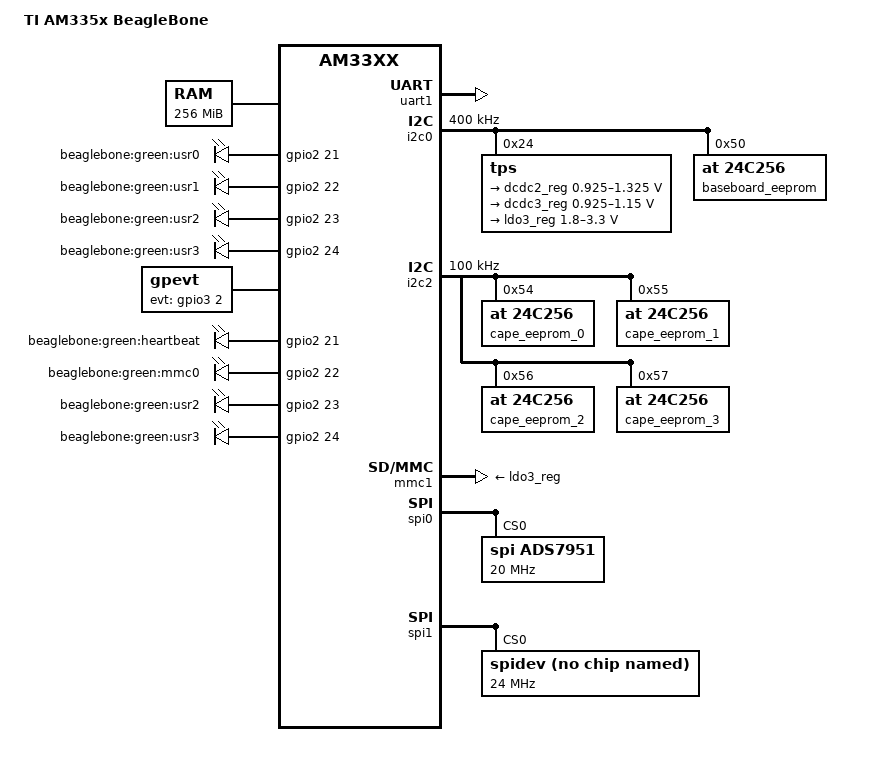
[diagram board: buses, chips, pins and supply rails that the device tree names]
/*
 * Copyright (C) 2012 Texas Instruments Incorporated - http://www.ti.com/
 *
 * This program is free software; you can redistribute it and/or modify
 * it under the terms of the GNU General Public License version 2 as
 * published by the Free Software Foundation.
 */

/include/ "am33xx.dtsi"

/ {
	model = "TI AM335x BeagleBone";
	compatible = "ti,am335x-bone", "ti,am33xx";

	cpus {
		cpu@0 {
			cpu0-supply = <&dcdc2_reg>;
		};
	};

	memory {
		device_type = "memory";
		reg = <0x80000000 0x10000000>; /* 256 MB */
	};

	am33xx_pinmux: pinmux@44e10800 {
		pinctrl-names = "default";
		pinctrl-0 = <&user_leds_s0>;

		user_leds_s0: user_leds_s0 {
			pinctrl-single,pins = <
				0x54 0x7	/* gpmc_a5.gpio1_21, OUTPUT | MODE7 */
				0x58 0x17	/* gpmc_a6.gpio1_22, OUTPUT_PULLUP | MODE7 */
				0x5c 0x7	/* gpmc_a7.gpio1_23, OUTPUT | MODE7 */
				0x60 0x17	/* gpmc_a8.gpio1_24, OUTPUT_PULLUP | MODE7 */
			>;
		};

		spi0_pins: pinmux_spi0_pins {
			pinctrl-single,pins = <
				0x150 0x30      /* spi0_sclk.spo0_sclk, OUTPUT_PULLUP | MODE0 */
				0x154 0x30      /* spi0_d0.spi0_d0, INPUT_PULLUP | MODE0 */
				0x158 0x30      /* spi0_d1.spi0_d1, INPUT_PULLUP | MODE0 */
				0x15c 0x30      /* spi0_cs0.spi0_cs0, OUTPUT_PULLUP | MODE0 */
			>;
		};

		spi1_pins: pinmux_spi1_pins {
			pinctrl-single,pins = <
				0x190 0x13	/* mcasp0_aclkx.spi1_sclk, OUTPUT_PULLUP | MODE3 */
				0x194 0x33	/* mcasp0_fsx.spi1_d0, INPUT_PULLUP | MODE3 */
				0x198 0x13	/* mcasp0_axr0.spi1_d1, OUTPUT_PULLUP | MODE3 */
				0x19c 0x13	/* mcasp0_ahclkr.spi1_cs0, OUTPUT_PULLUP | MODE3 */
			>;
		};
		lcd_pins: pinmux_lcd_pins {
			pinctrl-single,pins = <
				0x1a4 0x17	/* mcasp0_fsr.gpio3_19, OUTPUT_PULLUP | MODE7 */
				0x1ac 0x17	/* mcasp0_ahclkx.gpio3_21, OUTPUT_PULLUP | MODE7 */
			>;
		};
		gpevt_pins: pinmux_gpevt_pins {
			pinctrl-single,pins = <
				0x090 0x37	/* gpmc_advn_ale.gpio2_2, INPUT_PULLUP | MODE7 */
			>;
		};
		userled_pins: pinmux_userled_pins {
			pinctrl-single,pins = <
				0x54 0x7	/* gpmc_a5.gpio1_21, OUTPUT | MODE7 */
				0x58 0x17	/* gpmc_a6.gpio1_22, OUTPUT_PULLUP | MODE7 */
				0x5c 0x7	/* gpmc_a7.gpio1_23, OUTPUT | MODE7 */
				0x60 0x17	/* gpmc_a8.gpio1_24, OUTPUT_PULLUP | MODE7 */
			>;
		};
		i2c2_pins: pinmux_i2c2_pins {
			pinctrl-single,pins = <
				0x178 0x73 	/* uart1_ctsn.i2c2_sda, SLEWCTRL_SLOW | INPUT_PULLUP | MODE3 */
				0x17c 0x73	/* uart1_rtsn.i2c2_scl, SLEWCTRL_SLOW | INPUT_PULLUP | MODE3 */
			>;
		};

		bone_dvi_cape_led_pins: pinmux_bone_dvi_cape_led_pins {
			pinctrl-single,pins = <
				0x48 0x07	/* gpmc_a2.gpio1_18, OUTPUT | MODE7 */
				0x4c 0x07	/* gpmc_a3.gpio1_19, OUTPUT | MODE7 */
			>;
		};

		bone_dvi_cape_dvi_00A0_pins: pinmux_bone_dvi_cape_dvi_00A0_pins {
			pinctrl-single,pins = <
				0x1c 0x07	/* gpmc_ad7.gpio1_7, OUTPUT | MODE7 - DVIPDn */

				0xa0 0x08	/* lcd_data0.lcd_data0, OMAP_MUX_MODE0 | AM33XX_PIN_OUTPUT | AM33XX_PULL_DISA */
				0xa4 0x08	/* lcd_data1.lcd_data1, OMAP_MUX_MODE0 | AM33XX_PIN_OUTPUT | AM33XX_PULL_DISA */
				0xa8 0x08	/* lcd_data2.lcd_data2, OMAP_MUX_MODE0 | AM33XX_PIN_OUTPUT | AM33XX_PULL_DISA */
				0xac 0x08	/* lcd_data3.lcd_data3, OMAP_MUX_MODE0 | AM33XX_PIN_OUTPUT | AM33XX_PULL_DISA */
				0xb0 0x08	/* lcd_data4.lcd_data4, OMAP_MUX_MODE0 | AM33XX_PIN_OUTPUT | AM33XX_PULL_DISA */
				0xb4 0x08	/* lcd_data5.lcd_data5, OMAP_MUX_MODE0 | AM33XX_PIN_OUTPUT | AM33XX_PULL_DISA */
				0xb8 0x08	/* lcd_data6.lcd_data6, OMAP_MUX_MODE0 | AM33XX_PIN_OUTPUT | AM33XX_PULL_DISA */
				0xbc 0x08	/* lcd_data7.lcd_data7, OMAP_MUX_MODE0 | AM33XX_PIN_OUTPUT | AM33XX_PULL_DISA */
				0xc0 0x08	/* lcd_data8.lcd_data8, OMAP_MUX_MODE0 | AM33XX_PIN_OUTPUT | AM33XX_PULL_DISA */
				0xc4 0x08	/* lcd_data9.lcd_data9, OMAP_MUX_MODE0 | AM33XX_PIN_OUTPUT | AM33XX_PULL_DISA */
				0xc8 0x08	/* lcd_data10.lcd_data10, OMAP_MUX_MODE0 | AM33XX_PIN_OUTPUT | AM33XX_PULL_DISA */
				0xcc 0x08	/* lcd_data11.lcd_data11, OMAP_MUX_MODE0 | AM33XX_PIN_OUTPUT | AM33XX_PULL_DISA */
				0xd0 0x08	/* lcd_data12.lcd_data12, OMAP_MUX_MODE0 | AM33XX_PIN_OUTPUT | AM33XX_PULL_DISA */
				0xd4 0x08	/* lcd_data13.lcd_data13, OMAP_MUX_MODE0 | AM33XX_PIN_OUTPUT | AM33XX_PULL_DISA */
				0xd8 0x08	/* lcd_data14.lcd_data14, OMAP_MUX_MODE0 | AM33XX_PIN_OUTPUT | AM33XX_PULL_DISA */
				0xdc 0x08	/* lcd_data15.lcd_data15, OMAP_MUX_MODE0 | AM33XX_PIN_OUTPUT | AM33XX_PULL_DISA */
				0xe0 0x00	/* lcd_vsync.lcd_vsync, OMAP_MUX_MODE0 | AM33XX_PIN_OUTPUT */
				0xe4 0x00	/* lcd_hsync.lcd_hsync, OMAP_MUX_MODE0 | AM33XX_PIN_OUTPUT */
				0xe8 0x00	/* lcd_pclk.lcd_pclk, OMAP_MUX_MODE0 | AM33XX_PIN_OUTPUT */
				0xec 0x00	/* lcd_ac_bias_en.lcd_ac_bias_en, OMAP_MUX_MODE0 | AM33XX_PIN_OUTPUT */
			>;
		};

		bone_dvi_cape_dvi_00A1_pins: pinmux_bone_dvi_cape_dvi_00A1_pins {
			pinctrl-single,pins = <
				0x84 0x07	/* gpmc_csn2.gpio1_31, OUTPUT | MODE7 - DVIPDn */

				0xa0 0x08	/* lcd_data0.lcd_data0, OMAP_MUX_MODE0 | AM33XX_PIN_OUTPUT | AM33XX_PULL_DISA */
				0xa4 0x08	/* lcd_data1.lcd_data1, OMAP_MUX_MODE0 | AM33XX_PIN_OUTPUT | AM33XX_PULL_DISA */
				0xa8 0x08	/* lcd_data2.lcd_data2, OMAP_MUX_MODE0 | AM33XX_PIN_OUTPUT | AM33XX_PULL_DISA */
				0xac 0x08	/* lcd_data3.lcd_data3, OMAP_MUX_MODE0 | AM33XX_PIN_OUTPUT | AM33XX_PULL_DISA */
				0xb0 0x08	/* lcd_data4.lcd_data4, OMAP_MUX_MODE0 | AM33XX_PIN_OUTPUT | AM33XX_PULL_DISA */
				0xb4 0x08	/* lcd_data5.lcd_data5, OMAP_MUX_MODE0 | AM33XX_PIN_OUTPUT | AM33XX_PULL_DISA */
				0xb8 0x08	/* lcd_data6.lcd_data6, OMAP_MUX_MODE0 | AM33XX_PIN_OUTPUT | AM33XX_PULL_DISA */
				0xbc 0x08	/* lcd_data7.lcd_data7, OMAP_MUX_MODE0 | AM33XX_PIN_OUTPUT | AM33XX_PULL_DISA */
				0xc0 0x08	/* lcd_data8.lcd_data8, OMAP_MUX_MODE0 | AM33XX_PIN_OUTPUT | AM33XX_PULL_DISA */
				0xc4 0x08	/* lcd_data9.lcd_data9, OMAP_MUX_MODE0 | AM33XX_PIN_OUTPUT | AM33XX_PULL_DISA */
				0xc8 0x08	/* lcd_data10.lcd_data10, OMAP_MUX_MODE0 | AM33XX_PIN_OUTPUT | AM33XX_PULL_DISA */
				0xcc 0x08	/* lcd_data11.lcd_data11, OMAP_MUX_MODE0 | AM33XX_PIN_OUTPUT | AM33XX_PULL_DISA */
				0xd0 0x08	/* lcd_data12.lcd_data12, OMAP_MUX_MODE0 | AM33XX_PIN_OUTPUT | AM33XX_PULL_DISA */
				0xd4 0x08	/* lcd_data13.lcd_data13, OMAP_MUX_MODE0 | AM33XX_PIN_OUTPUT | AM33XX_PULL_DISA */
				0xd8 0x08	/* lcd_data14.lcd_data14, OMAP_MUX_MODE0 | AM33XX_PIN_OUTPUT | AM33XX_PULL_DISA */
				0xdc 0x08	/* lcd_data15.lcd_data15, OMAP_MUX_MODE0 | AM33XX_PIN_OUTPUT | AM33XX_PULL_DISA */
				0xe0 0x00	/* lcd_vsync.lcd_vsync, OMAP_MUX_MODE0 | AM33XX_PIN_OUTPUT */
				0xe4 0x00	/* lcd_hsync.lcd_hsync, OMAP_MUX_MODE0 | AM33XX_PIN_OUTPUT */
				0xe8 0x00	/* lcd_pclk.lcd_pclk, OMAP_MUX_MODE0 | AM33XX_PIN_OUTPUT */
				0xec 0x00	/* lcd_ac_bias_en.lcd_ac_bias_en, OMAP_MUX_MODE0 | AM33XX_PIN_OUTPUT */
			>;
		};

		nxp_hdmi_bonelt_pins: nxp_hdmi_bonelt_pins {
			pinctrl-single,pins = <
				0x1b0 0x03	/* xdma_event_intr0, OMAP_MUX_MODE3 | AM33XX_PIN_OUTPUT */
				0xa0 0x08	/* lcd_data0.lcd_data0, OMAP_MUX_MODE0 | AM33XX_PIN_OUTPUT | AM33XX_PULL_DISA */
				0xa4 0x08	/* lcd_data1.lcd_data1, OMAP_MUX_MODE0 | AM33XX_PIN_OUTPUT | AM33XX_PULL_DISA */
				0xa8 0x08	/* lcd_data2.lcd_data2, OMAP_MUX_MODE0 | AM33XX_PIN_OUTPUT | AM33XX_PULL_DISA */
				0xac 0x08	/* lcd_data3.lcd_data3, OMAP_MUX_MODE0 | AM33XX_PIN_OUTPUT | AM33XX_PULL_DISA */
				0xb0 0x08	/* lcd_data4.lcd_data4, OMAP_MUX_MODE0 | AM33XX_PIN_OUTPUT | AM33XX_PULL_DISA */
				0xb4 0x08	/* lcd_data5.lcd_data5, OMAP_MUX_MODE0 | AM33XX_PIN_OUTPUT | AM33XX_PULL_DISA */
				0xb8 0x08	/* lcd_data6.lcd_data6, OMAP_MUX_MODE0 | AM33XX_PIN_OUTPUT | AM33XX_PULL_DISA */
				0xbc 0x08	/* lcd_data7.lcd_data7, OMAP_MUX_MODE0 | AM33XX_PIN_OUTPUT | AM33XX_PULL_DISA */
				0xc0 0x08	/* lcd_data8.lcd_data8, OMAP_MUX_MODE0 | AM33XX_PIN_OUTPUT | AM33XX_PULL_DISA */
				0xc4 0x08	/* lcd_data9.lcd_data9, OMAP_MUX_MODE0 | AM33XX_PIN_OUTPUT | AM33XX_PULL_DISA */
				0xc8 0x08	/* lcd_data10.lcd_data10, OMAP_MUX_MODE0 | AM33XX_PIN_OUTPUT | AM33XX_PULL_DISA */
				0xcc 0x08	/* lcd_data11.lcd_data11, OMAP_MUX_MODE0 | AM33XX_PIN_OUTPUT | AM33XX_PULL_DISA */
				0xd0 0x08	/* lcd_data12.lcd_data12, OMAP_MUX_MODE0 | AM33XX_PIN_OUTPUT | AM33XX_PULL_DISA */
				0xd4 0x08	/* lcd_data13.lcd_data13, OMAP_MUX_MODE0 | AM33XX_PIN_OUTPUT | AM33XX_PULL_DISA */
				0xd8 0x08	/* lcd_data14.lcd_data14, OMAP_MUX_MODE0 | AM33XX_PIN_OUTPUT | AM33XX_PULL_DISA */
				0xdc 0x08	/* lcd_data15.lcd_data15, OMAP_MUX_MODE0 | AM33XX_PIN_OUTPUT | AM33XX_PULL_DISA */
				0xe0 0x00	/* lcd_vsync.lcd_vsync, OMAP_MUX_MODE0 | AM33XX_PIN_OUTPUT */
				0xe4 0x00	/* lcd_hsync.lcd_hsync, OMAP_MUX_MODE0 | AM33XX_PIN_OUTPUT */
				0xe8 0x00	/* lcd_pclk.lcd_pclk, OMAP_MUX_MODE0 | AM33XX_PIN_OUTPUT */
				0xec 0x00	/* lcd_ac_bias_en.lcd_ac_bias_en, OMAP_MUX_MODE0 | AM33XX_PIN_OUTPUT */
			>;
		};

		nxp_hdmi_cape_pins: nxp_hdmi_cape_pins {
			pinctrl-single,pins = <

				0xa0 0x08	/* lcd_data0.lcd_data0, OMAP_MUX_MODE0 | AM33XX_PIN_OUTPUT | AM33XX_PULL_DISA */
				0xa4 0x08	/* lcd_data1.lcd_data1, OMAP_MUX_MODE0 | AM33XX_PIN_OUTPUT | AM33XX_PULL_DISA */
				0xa8 0x08	/* lcd_data2.lcd_data2, OMAP_MUX_MODE0 | AM33XX_PIN_OUTPUT | AM33XX_PULL_DISA */
				0xac 0x08	/* lcd_data3.lcd_data3, OMAP_MUX_MODE0 | AM33XX_PIN_OUTPUT | AM33XX_PULL_DISA */
				0xb0 0x08	/* lcd_data4.lcd_data4, OMAP_MUX_MODE0 | AM33XX_PIN_OUTPUT | AM33XX_PULL_DISA */
				0xb4 0x08	/* lcd_data5.lcd_data5, OMAP_MUX_MODE0 | AM33XX_PIN_OUTPUT | AM33XX_PULL_DISA */
				0xb8 0x08	/* lcd_data6.lcd_data6, OMAP_MUX_MODE0 | AM33XX_PIN_OUTPUT | AM33XX_PULL_DISA */
				0xbc 0x08	/* lcd_data7.lcd_data7, OMAP_MUX_MODE0 | AM33XX_PIN_OUTPUT | AM33XX_PULL_DISA */
				0xc0 0x08	/* lcd_data8.lcd_data8, OMAP_MUX_MODE0 | AM33XX_PIN_OUTPUT | AM33XX_PULL_DISA */
				0xc4 0x08	/* lcd_data9.lcd_data9, OMAP_MUX_MODE0 | AM33XX_PIN_OUTPUT | AM33XX_PULL_DISA */
				0xc8 0x08	/* lcd_data10.lcd_data10, OMAP_MUX_MODE0 | AM33XX_PIN_OUTPUT | AM33XX_PULL_DISA */
				0xcc 0x08	/* lcd_data11.lcd_data11, OMAP_MUX_MODE0 | AM33XX_PIN_OUTPUT | AM33XX_PULL_DISA */
				0xd0 0x08	/* lcd_data12.lcd_data12, OMAP_MUX_MODE0 | AM33XX_PIN_OUTPUT | AM33XX_PULL_DISA */
				0xd4 0x08	/* lcd_data13.lcd_data13, OMAP_MUX_MODE0 | AM33XX_PIN_OUTPUT | AM33XX_PULL_DISA */
				0xd8 0x08	/* lcd_data14.lcd_data14, OMAP_MUX_MODE0 | AM33XX_PIN_OUTPUT | AM33XX_PULL_DISA */
				0xdc 0x08	/* lcd_data15.lcd_data15, OMAP_MUX_MODE0 | AM33XX_PIN_OUTPUT | AM33XX_PULL_DISA */
				0xe0 0x00	/* lcd_vsync.lcd_vsync, OMAP_MUX_MODE0 | AM33XX_PIN_OUTPUT */
				0xe4 0x00	/* lcd_hsync.lcd_hsync, OMAP_MUX_MODE0 | AM33XX_PIN_OUTPUT */
				0xe8 0x00	/* lcd_pclk.lcd_pclk, OMAP_MUX_MODE0 | AM33XX_PIN_OUTPUT */
				0xec 0x00	/* lcd_ac_bias_en.lcd_ac_bias_en, OMAP_MUX_MODE0 | AM33XX_PIN_OUTPUT */
			>;
		};

		bone_geiger_cape_led_pins: pinmux_bone_geiger_cape_led_pins {
			pinctrl-single,pins = <
				0xe4 0x07	/* lcd_hsync.gpio2_23, OUTPUT | MODE7 */
				0xec 0x07	/* lcd_ac_bias_en.gpio2_25, OUTPUT | MODE7 */
			>;
		};

		bone_geiger_cape_pins: pinmux_bone_geiger_cape_pins {
			pinctrl-single,pins = <
				0x48 0x06       /* gpmc_a2.ehrpwm1a, OMAP_MUX_MODE6 | AM33XX_PIN_OUTPUT */
				/* 0x19c 0x34 */	/* mcasp0_ahclkr.eCAP2_in_PWM2_out, OMAP_MUX_MODE4 | INPUT_PULLUP */
				0x19c 0x37 	/* mcasp0_ahclkr.gpio3_17, OMAP_MUX_MODE4 | INPUT_PULLUP */
			>;
		};

		bone_lcd3_cape_led_00A0_pins: pinmux_bone_lcd3_cape_led_00A0_pins {
			pinctrl-single,pins = <
				0x48 0x07	/* gpmc_a2.gpio1_18, OUTPUT | MODE7 */
				0x4c 0x07	/* gpmc_a3.gpio1_19, OUTPUT | MODE7 */
			>;
		};

		bone_lcd3_cape_lcd_pins: pinmux_bone_lcd3_cape_lcd_pins {
			pinctrl-single,pins = <
				0xa0 0x08	/* lcd_data0.lcd_data0, OMAP_MUX_MODE0 | AM33XX_PIN_OUTPUT | AM33XX_PULL_DISA */
				0xa4 0x08	/* lcd_data1.lcd_data1, OMAP_MUX_MODE0 | AM33XX_PIN_OUTPUT | AM33XX_PULL_DISA */
				0xa8 0x08	/* lcd_data2.lcd_data2, OMAP_MUX_MODE0 | AM33XX_PIN_OUTPUT | AM33XX_PULL_DISA */
				0xac 0x08	/* lcd_data3.lcd_data3, OMAP_MUX_MODE0 | AM33XX_PIN_OUTPUT | AM33XX_PULL_DISA */
				0xb0 0x08	/* lcd_data4.lcd_data4, OMAP_MUX_MODE0 | AM33XX_PIN_OUTPUT | AM33XX_PULL_DISA */
				0xb4 0x08	/* lcd_data5.lcd_data5, OMAP_MUX_MODE0 | AM33XX_PIN_OUTPUT | AM33XX_PULL_DISA */
				0xb8 0x08	/* lcd_data6.lcd_data6, OMAP_MUX_MODE0 | AM33XX_PIN_OUTPUT | AM33XX_PULL_DISA */
				0xbc 0x08	/* lcd_data7.lcd_data7, OMAP_MUX_MODE0 | AM33XX_PIN_OUTPUT | AM33XX_PULL_DISA */
				0xc0 0x08	/* lcd_data8.lcd_data8, OMAP_MUX_MODE0 | AM33XX_PIN_OUTPUT | AM33XX_PULL_DISA */
				0xc4 0x08	/* lcd_data9.lcd_data9, OMAP_MUX_MODE0 | AM33XX_PIN_OUTPUT | AM33XX_PULL_DISA */
				0xc8 0x08	/* lcd_data10.lcd_data10, OMAP_MUX_MODE0 | AM33XX_PIN_OUTPUT | AM33XX_PULL_DISA */
				0xcc 0x08	/* lcd_data11.lcd_data11, OMAP_MUX_MODE0 | AM33XX_PIN_OUTPUT | AM33XX_PULL_DISA */
				0xd0 0x08	/* lcd_data12.lcd_data12, OMAP_MUX_MODE0 | AM33XX_PIN_OUTPUT | AM33XX_PULL_DISA */
				0xd4 0x08	/* lcd_data13.lcd_data13, OMAP_MUX_MODE0 | AM33XX_PIN_OUTPUT | AM33XX_PULL_DISA */
				0xd8 0x08	/* lcd_data14.lcd_data14, OMAP_MUX_MODE0 | AM33XX_PIN_OUTPUT | AM33XX_PULL_DISA */
				0xdc 0x08	/* lcd_data15.lcd_data15, OMAP_MUX_MODE0 | AM33XX_PIN_OUTPUT | AM33XX_PULL_DISA */
				0xe0 0x00	/* lcd_vsync.lcd_vsync, OMAP_MUX_MODE0 | AM33XX_PIN_OUTPUT */
				0xe4 0x00	/* lcd_hsync.lcd_hsync, OMAP_MUX_MODE0 | AM33XX_PIN_OUTPUT */
				0xe8 0x00	/* lcd_pclk.lcd_pclk, OMAP_MUX_MODE0 | AM33XX_PIN_OUTPUT */
				0xec 0x00	/* lcd_ac_bias_en.lcd_ac_bias_en, OMAP_MUX_MODE0 | AM33XX_PIN_OUTPUT */
			>;
		};

		bone_lcd3_cape_keys_00A0_pins: pinmux_bone_lcd3_cape_keys_00A0_pins {
			pinctrl-single,pins = <
				0x040 0x2f	/* gpmc_a0.gpio1_16, INPUT | PULLDIS | MODE7 */
				0x044 0x2f	/* gpmc_a1.gpio1_17, INPUT | PULLDIS | MODE7 */
				0x1a4 0x2f	/* mcasp0_fsr.gpio3_19, INPUT | PULLDIS | MODE7 */
				0x078 0x2f	/* gpmc_ben1.gpio1_28, INPUT | PULLDIS | MODE7 */
				0x164 0x2f	/* ecap0_in_pwm0_out.gpio0_7, INPUT | PULLDIS | MODE7 */
			>;
		};

		pwm_bl_pins: pinmux_pwm_bl_pins {
			pinctrl-single,pins = <
				0x4c 0x06	/* gpmc_a3.ehrpwm1b, OMAP_MUX_MODE6 | AM33XX_PIN_OUTPUT */
				// 0x48 0x06       /* gpmc_a2.ehrpwm1a, OMAP_MUX_MODE6 | AM33XX_PIN_OUTPUT */
			>;
	       };

		weather_cape_w1_pins: pinmux_weather_cape_w1_pins {
			pinctrl-single,pins = <
				0x0c 0x37       /* gpmc_ad3.gpio1_3, OMAP_PIN_INPUT_PULLUP | OMAP_MUX_MODE7 - w1-gpio */
			>;
		};
	};

	ocp {
		uart1: serial@44e09000 {
			status = "okay";
		};

		gpio-leds {
			compatible = "gpio-leds";
			pinctrl-names = "default";
			pinctrl-0 = <&userled_pins>;

			led0 {
				label = "beaglebone:green:usr0";
				gpios = <&gpio2 21 0>;
				linux,default-trigger = "heartbeat";
				default-state = "off";
			};

			led1 {
				label = "beaglebone:green:usr1";
				gpios = <&gpio2 22 0>;
				linux,default-trigger = "mmc0";
				default-state = "off";
			};

			led2 {
				label = "beaglebone:green:usr2";
				gpios = <&gpio2 23 0>;
				linux,default-trigger = "cpu0";
				default-state = "off";
			};

			led3 {
				label = "beaglebone:green:usr3";
				gpios = <&gpio2 24 0>;
				default-state = "off";
				linux,default-trigger = "mmc1";
			};
		};

		gpevt {
			compatible = "gpevt";
			pinctrl-names = "default";
			pinctrl-0 = <&gpevt_pins>;
			dmas = <&edma 12>;
			dma-names = "gpioevt";
			gpio-evt = <&gpio3 2 0>;
		};
	};

	leds {
		compatible = "gpio-leds";

		led@2 {
			label = "beaglebone:green:heartbeat";
			gpios = <&gpio2 21 0>;
			linux,default-trigger = "heartbeat";
			default-state = "off";
		};

		led@3 {
			label = "beaglebone:green:mmc0";
			gpios = <&gpio2 22 0>;
			linux,default-trigger = "mmc0";
			default-state = "off";
		};

		led@4 {
			label = "beaglebone:green:usr2";
			gpios = <&gpio2 23 0>;
			default-state = "off";
		};

		led@5 {
			label = "beaglebone:green:usr3";
			gpios = <&gpio2 24 0>;
			default-state = "off";
		};
	};

};

&i2c0 {
	status = "okay";
	clock-frequency = <400000>;

	tps: tps@24 {
		reg = <0x24>;
	};

	baseboard_eeprom: baseboard_eeprom@50 {
		compatible = "at,24c256";
		reg = <0x50>;
	};
       
};

&i2c2 {
	status = "okay";
	pinctrl-names = "default";
	pinctrl-0 = <&i2c2_pins>;

	clock-frequency = <100000>;

	/* OK, I know these are cape but for now it will do */
	cape_eeprom_0: cape_eeprom_0@54 {
		compatible = "at,24c256";
		reg = <0x54>;
	};

	cape_eeprom_1: cape_eeprom_1@55 {
		compatible = "at,24c256";
		reg = <0x55>;
	};

	cape_eeprom_2: cape_eeprom_2@56 {
		compatible = "at,24c256";
		reg = <0x56>;
	};

	cape_eeprom_3: cape_eeprom_3@57 {
		compatible = "at,24c256";
		reg = <0x57>;
	};
};

/include/ "tps65217.dtsi"

&tps {
	regulators {
		dcdc1_reg: regulator@0 {
			regulator-always-on;
		};

		dcdc2_reg: regulator@1 {
			/* VDD_MPU voltage limits 0.95V - 1.26V with +/-4% tolerance */
			regulator-name = "vdd_mpu";
			regulator-min-microvolt = <925000>;
			regulator-max-microvolt = <1325000>;
			regulator-boot-on;
			regulator-always-on;
		};

		dcdc3_reg: regulator@2 {
			/* VDD_CORE voltage limits 0.95V - 1.1V with +/-4% tolerance */
			regulator-name = "vdd_core";
			regulator-min-microvolt = <925000>;
			regulator-max-microvolt = <1150000>;
			regulator-boot-on;
			regulator-always-on;
		};

		ldo1_reg: regulator@3 {
			regulator-always-on;
		};

		ldo2_reg: regulator@4 {
			regulator-always-on;
		};

		ldo3_reg: regulator@5 {
			regulator-min-microvolt = <1800000>;
			regulator-max-microvolt = <3300000>;
			regulator-always-on;
		};

		ldo4_reg: regulator@6 {
			regulator-always-on;
		};
	};
};

&cpsw_emac0 {
	phy_id = <&davinci_mdio>, <0>;
};

&cpsw_emac1 {
	phy_id = <&davinci_mdio>, <1>;
};

&mmc1 {
	vmmc-supply = <&ldo3_reg>;
};

&spi0 {
	status = "okay";
	pinctrl-names = "default";
	pinctrl-0 = <&spi0_pins>;
	ti,pindir-d0-out-d1-in;

	ads7951@0 {
		compatible = "spi,ads7951";
		reg = <0>;
		spi-max-frequency = <20000000>;
	};
};

&spi1 {
	status = "okay";
	pinctrl-names = "default";
	pinctrl-0 = <&spi1_pins>;

	spidev@1 {
		compatible = "linux,spidev";
		reg = <0>;
		spi-max-frequency = <24000000>;
	};
};

&edma {
	ti,edma-xbar-event-map = <32 12>;
};
